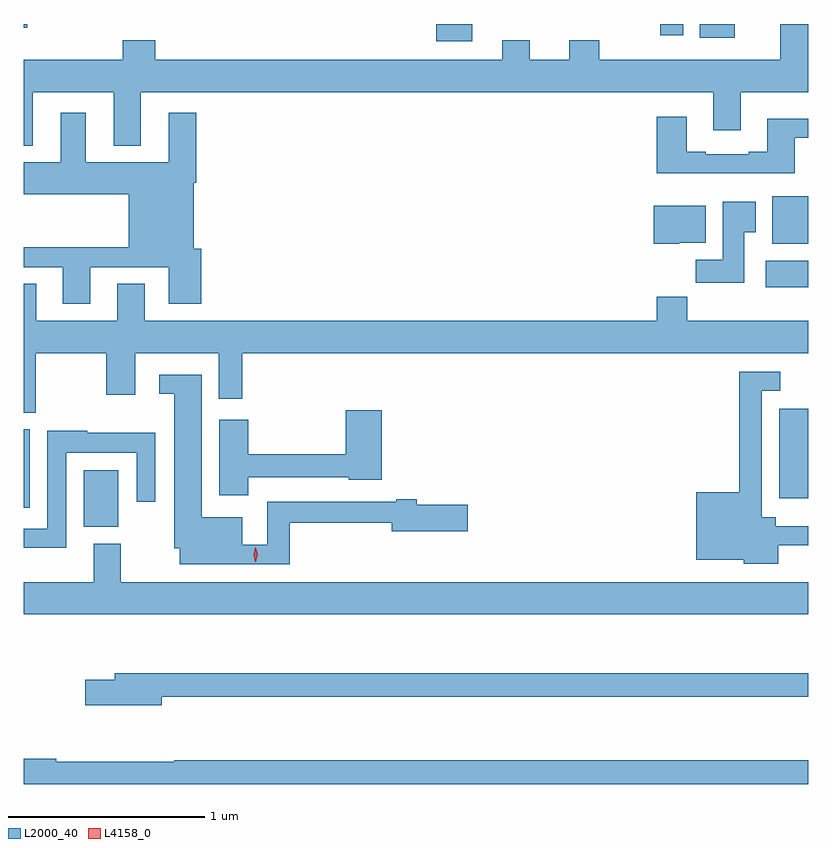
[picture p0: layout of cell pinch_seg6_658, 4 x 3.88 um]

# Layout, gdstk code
import gdstk
lib = gdstk.Library(unit=1e-6, precision=1e-09)
def R(c, l, rs):  # rectangles x0, y0, x1, y1
    for r in rs: c.add(gdstk.rectangle(r[:2], r[2:], *l))
def P(c, l, *ps):  # polygons
    for p in ps: c.add(gdstk.Polygon(p, *l))
L2000_40 = (2000, 40)
L4158_0 = (4158, 0)

pinch_seg6_658 = lib.new_cell('pinch_seg6_658')
R(pinch_seg6_658, L2000_40, [(468.578,922.475,468.754,922.762), (468.274,922.572,468.304,922.971), (472.127,922.62,472.274,923.077), (472.059,923.696,472.274,923.83), (472.091,923.918,472.274,924.16), (470.378,924.95,470.56,925.039), (471.722,924.968,471.901,925.039), (471.52,924.981,471.637,925.039), (468.274,925.02,468.292,925.039)])
P(pinch_seg6_658, L2000_40, [(468.319,924.692),(468.731,924.692),(468.731,924.419),(468.871,924.419),(468.871,924.692),(471.791,924.692),(471.791,924.498),(471.931,924.498),(471.931,924.692),(472.274,924.692),(472.274,925.039),(472.133,925.039),(472.133,924.856),(471.209,924.856),(471.209,924.955),(471.056,924.955),(471.056,924.856),(470.854,924.856),(470.854,924.955),(470.714,924.955),(470.714,924.856),(468.944,924.856),(468.944,924.955),(468.779,924.955),(468.779,924.856),(468.274,924.856),(468.274,924.419),(468.319,924.419)],
  [(468.613,923.799),(469.013,923.799),(469.013,923.613),(469.178,923.613),(469.178,923.892),(469.141,923.892),(469.141,924.23),(469.154,924.23),(469.154,924.586),(469.013,924.586),(469.013,924.334),(468.589,924.334),(468.589,924.586),(468.461,924.586),(468.461,924.334),(468.274,924.334),(468.274,924.17),(468.809,924.17),(468.809,923.9),(468.274,923.9),(468.274,923.799),(468.473,923.799),(468.473,923.613),(468.613,923.613)],
  [(472.207,924.459),(472.274,924.459),(472.274,924.556),(472.067,924.556),(472.067,924.388),(471.971,924.388),(471.971,924.375),(471.751,924.375),(471.751,924.388),(471.655,924.388),(471.655,924.565),(471.503,924.565),(471.503,924.278),(472.207,924.278)],
  [(471.949,923.977),(472.006,923.977),(472.006,924.133),(471.839,924.133),(471.839,923.836),(471.7,923.836),(471.7,923.718),(471.949,923.718)],
  [(471.618,923.924),(471.751,923.924),(471.751,924.112),(471.488,924.112),(471.488,923.918),(471.618,923.918)],
  [(468.333,923.36),(468.694,923.36),(468.694,923.148),(468.841,923.148),(468.841,923.36),(469.268,923.36),(469.268,923.127),(469.387,923.127),(469.387,923.36),(472.274,923.36),(472.274,923.524),(471.659,923.524),(471.659,923.648),(471.503,923.648),(471.503,923.524),(468.889,923.524),(468.889,923.714),(468.749,923.714),(468.749,923.524),(468.337,923.524),(468.337,923.714),(468.274,923.714),(468.274,923.056),(468.333,923.056)],
  [(472.123,922.38),(472.274,922.38),(472.274,922.476),(472.108,922.476),(472.108,922.522),(472.038,922.522),(472.038,923.169),(472.132,923.169),(472.132,923.265),(471.922,923.265),(471.922,922.651),(471.704,922.651),(471.704,922.307),(471.945,922.307),(471.945,922.286),(472.123,922.286)],
  [(469.283,922.284),(469.631,922.284),(469.631,922.494),(470.15,922.494),(470.15,922.451),(470.539,922.451),(470.539,922.586),(470.278,922.586),(470.278,922.615),(470.174,922.615),(470.174,922.602),(469.515,922.602),(469.515,922.383),(469.387,922.383),(469.387,922.522),(469.18,922.522),(469.18,923.25),(468.963,923.25),(468.963,923.153),(469.04,923.153),(469.04,922.364),(469.07,922.364),(469.07,922.283),(469.283,922.283)],
  [(469.418,922.728),(469.932,922.728),(469.932,922.715),(470.099,922.715),(470.099,923.068),(469.916,923.068),(469.916,922.844),(469.418,922.844),(469.418,923.02),(469.271,923.02),(469.271,922.635),(469.418,922.635)],
  [(468.489,922.853),(468.849,922.853),(468.849,922.602),(468.945,922.602),(468.945,922.954),(468.596,922.954),(468.596,922.964),(468.393,922.964),(468.393,922.464),(468.274,922.464),(468.274,922.367),(468.489,922.367)],
  [(472.274,922.192),(468.769,922.192),(468.769,922.387),(468.629,922.387),(468.629,922.192),(468.274,922.192),(468.274,922.028),(472.274,922.028)],
  [(468.976,921.606),(472.274,921.606),(472.274,921.727),(468.737,921.727),(468.737,921.693),(468.588,921.693),(468.588,921.563),(468.976,921.563)],
  [(472.274,921.283),(469.04,921.283),(469.04,921.275),(468.44,921.275),(468.44,921.29),(468.274,921.29),(468.274,921.162),(472.274,921.162)])
P(pinch_seg6_658, L4158_0, [(469.455,922.297),(469.446,922.332),(469.455,922.367),(469.456,922.368),(469.456,922.367),(469.466,922.332),(469.456,922.297),(469.456,922.297)])

lib.write_gds('pinch_seg6_658.gds')
